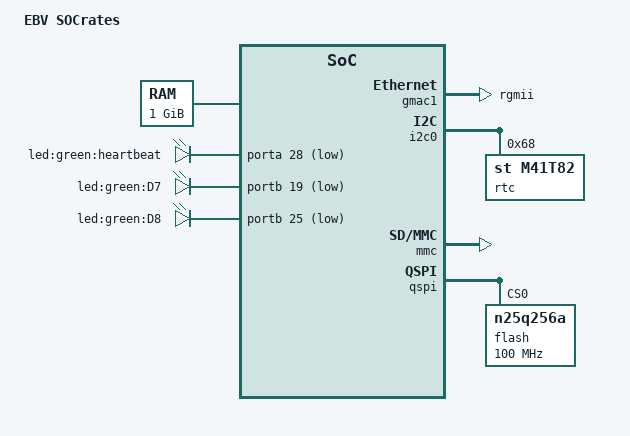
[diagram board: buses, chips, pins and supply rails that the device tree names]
/*
 *  Copyright (C) 2014 Steffen Trumtrar <s.trumtrar@pengutronix.de>
 *
 * This program is free software; you can redistribute it and/or modify
 * it under the terms of the GNU General Public License as published by
 * the Free Software Foundation; either version 2 of the License, or
 * (at your option) any later version.
 *
 * This program is distributed in the hope that it will be useful,
 * but WITHOUT ANY WARRANTY; without even the implied warranty of
 * MERCHANTABILITY or FITNESS FOR A PARTICULAR PURPOSE.  See the
 * GNU General Public License for more details.
 *
 * You should have received a copy of the GNU General Public License
 * along with this program.  If not, see <http://www.gnu.org/licenses/>.
 */

#include "socfpga_cyclone5.dtsi"

/ {
	model = "EBV SOCrates";
	compatible = "ebv,socrates", "altr,socfpga-cyclone5", "altr,socfpga";

	aliases {
		ethernet0 = &gmac1;
	};

	chosen {
		bootargs = "earlyprintk";
		stdout-path = "serial0:115200n8";
	};

	memory@0 {
		name = "memory";
		device_type = "memory";
		reg = <0x0 0x40000000>; /* 1GB */
	};

	leds: gpio-leds {
	};
};

&gmac1 {
	phy-mode = "rgmii";
	status = "okay";
};

&gpio0 {
	status = "okay";
};

&gpio1 {
	status = "okay";
};

&i2c0 {
	status = "okay";

	rtc: rtc@68 {
		compatible = "st,m41t82";
		reg = <0x68>;
	};
};

&leds {
	compatible = "gpio-leds";

	led0 {
		label = "led:green:heartbeat";
		gpios = <&porta 28 1>;
		linux,default-trigger = "heartbeat";
	};

	led1 {
		label = "led:green:D7";
		gpios = <&portb 19 1>;
	};

	led2 {
		label = "led:green:D8";
		gpios = <&portb 25 1>;
	};
};

&mmc {
	status = "okay";
};

&qspi {
	status = "okay";

	flash: flash@0 {
		#address-cells = <1>;
		#size-cells = <1>;
		compatible = "n25q256a";
		reg = <0>;
		spi-max-frequency = <100000000>;
		m25p,fast-read;
		cdns,read-delay = <4>;
		cdns,tshsl-ns = <50>;
		cdns,tsd2d-ns = <50>;
		cdns,tchsh-ns = <4>;
		cdns,tslch-ns = <4>;
		status = "okay";
	};
};
